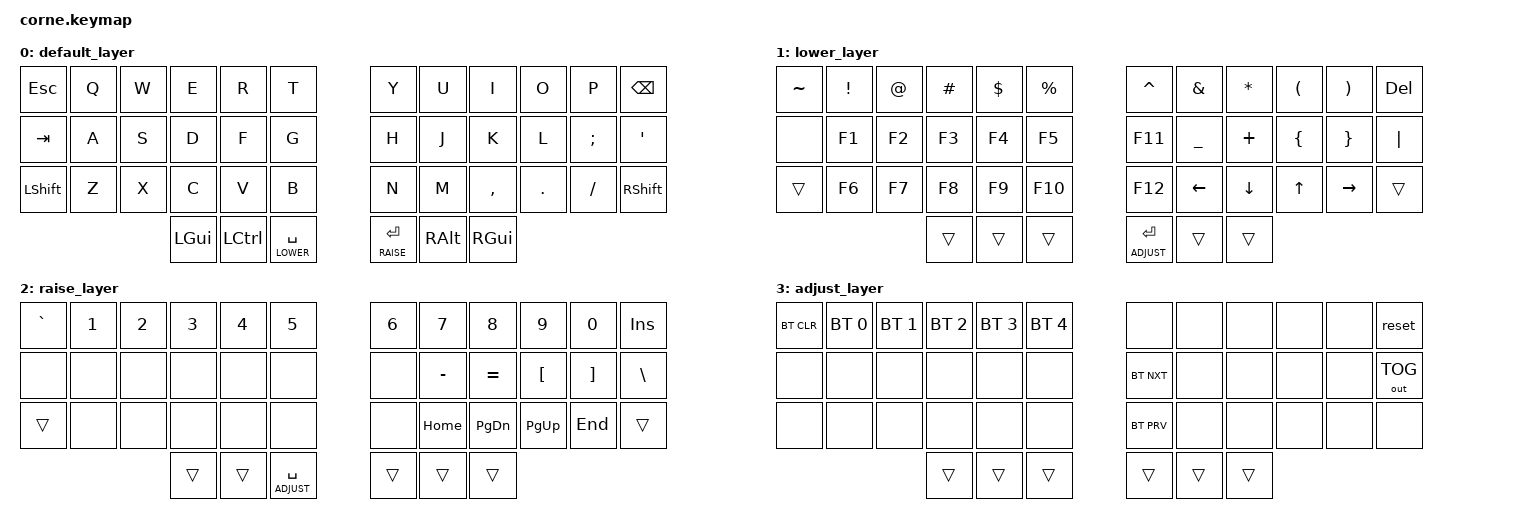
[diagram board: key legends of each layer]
/*
 * Copyright (c) 2020 The ZMK Contributors
 *
 * SPDX-License-Identifier: MIT
 */

#include <behaviors.dtsi>
#include <dt-bindings/zmk/keys.h>
#include <dt-bindings/zmk/bt.h>


#define DEFAULT 0
#define LOWER 1
#define RAISE 2
#define ADJUST 3
/ {
        keymap {
                compatible = "zmk,keymap";

                default_layer {
// -----------------------------------------------------------------------------------------
// |  ESC |  Q  |  W  |  E  |  R  |  T  |            |  Y  |  U   |  I  |  O  |  P  | BKSP |
// |  TAB |  A  |  S  |  D  |  F  |  G  |            |  H  |  J   |  K  |  L  |  ;  |  '   |
// | SHFT |  Z  |  X  |  C  |  V  |  B  |            |  N  |  M   |  ,  |  .  |  /  | SHFT |
//                       | GUI | CTRL | SPC |     | ENT | ALT  | GUI |
                        bindings = <
   &kp ESC    &kp Q &kp W &kp E &kp R &kp T   &kp Y &kp U  &kp I     &kp O   &kp P       &kp BSPC
   &kp TAB    &kp A &kp S &kp D &kp F &kp G   &kp H &kp J  &kp K     &kp L   &kp SEMI    &kp SQT
   &kp LSHFT  &kp Z &kp X &kp C &kp V &kp B   &kp N &kp M  &kp COMMA &kp DOT &kp FSLH    &kp RSHFT
        &kp LGUI &kp LCTRL &lt LOWER SPACE   &lt RAISE RET &kp RALT &kp RGUI
                        >;
                };
                lower_layer {
// -----------------------------------------------------------------------------------------
// |  ~  |  !  |  @  |  #  |  $  |  %  |            |  ^  |  &  |  *  |  (  |  )  | DEL |
// |     |  F1 |  F2 |  F3 |  F4 |  F5 |            | F11 |  _  |  +  |  {  |  }  | "|" |
// |     |  F6 |  F7 |  F8 |  F9 | F10 |            | F12 | LFT | DWN |  UP | RGT |     |
//                      |     |     |     |      | ADJUST |     |     |
                        bindings = <
   &kp TILDE &kp EXCL &kp AT &kp HASH &kp DLLR &kp PRCNT      &kp CARET &kp AMPS  &kp ASTRK &kp LPAR &kp RPAR  &kp DEL
   &none     &kp F1   &kp F2 &kp F3   &kp F4   &kp F5         &kp F11   &kp UNDER &kp PLUS  &kp LBRC &kp RBRC  &kp PIPE
   &trans    &kp F6   &kp F7 &kp F8   &kp F9   &kp F10        &kp F12   &kp LEFT  &kp DOWN  &kp UP   &kp RIGHT &trans
                        &trans   &trans   &trans               &lt ADJUST RET   &trans   &trans
                        >;
                };

                raise_layer {
// -----------------------------------------------------------------------------------------
// |  ´   |  1  |  2  |  3  |  4  |  5  |          |  6  |  7  |  8  |  9  |  0  | INS  |
// |      |     |     |     |     |     |          |     |  -  |  =  |  [  |  ]  |  \   |
// |      |     |     |     |     |     |          |     | HOME | PG_DN | PG_UP | END |    |
//                    |     |     | ADJUST |     |     |     |     |
                        bindings = <
   &kp GRAVE  &kp N1  &kp N2  &kp N3  &kp N4  &kp N5       &kp N6 &kp N7    &kp N8    &kp N9    &kp N0   &kp INS
   &none      &none  &none  &none  &none  &none            &none  &kp MINUS &kp EQUAL &kp LBKT  &kp RBKT &kp BSLH
   &trans     &none  &none  &none  &none  &none            &none  &kp HOME  &kp PG_DN &kp PG_UP &kp END  &trans
                          &trans &trans &lt ADJUST SPACE      &trans   &trans   &trans
                        >;
                };
                adjust_layer {
// -----------------------------------------------------------------------------------------
// | BTCLR| BT0 | BT1 | BT2 | BT3 | BT4 |          |        |     |     |     | RESET   |
// |      |     |     |     |     |     |          | BT_NXT |     |     |     | OUT_TOG |
// |      |     |     |     |     |     |          | BT_PRV |     |     |     |         |
//                        |     |     |     |   |     |     |     |
                        bindings = <
   &bt BT_CLR &bt BT_SEL 0 &bt BT_SEL 1 &bt BT_SEL 2 &bt BT_SEL 3 &bt BT_SEL 4           &none      &none &none &none &none &reset
   &none      &none        &none        &none        &none        &none                  &bt BT_NXT &none &none &none &none &out OUT_TOG
   &none      &none        &none        &none        &none        &none                  &bt BT_PRV &none &none &none &none &none
                                               &trans     &trans       &trans         &trans &trans &trans
                        >;
                };
        };
};
